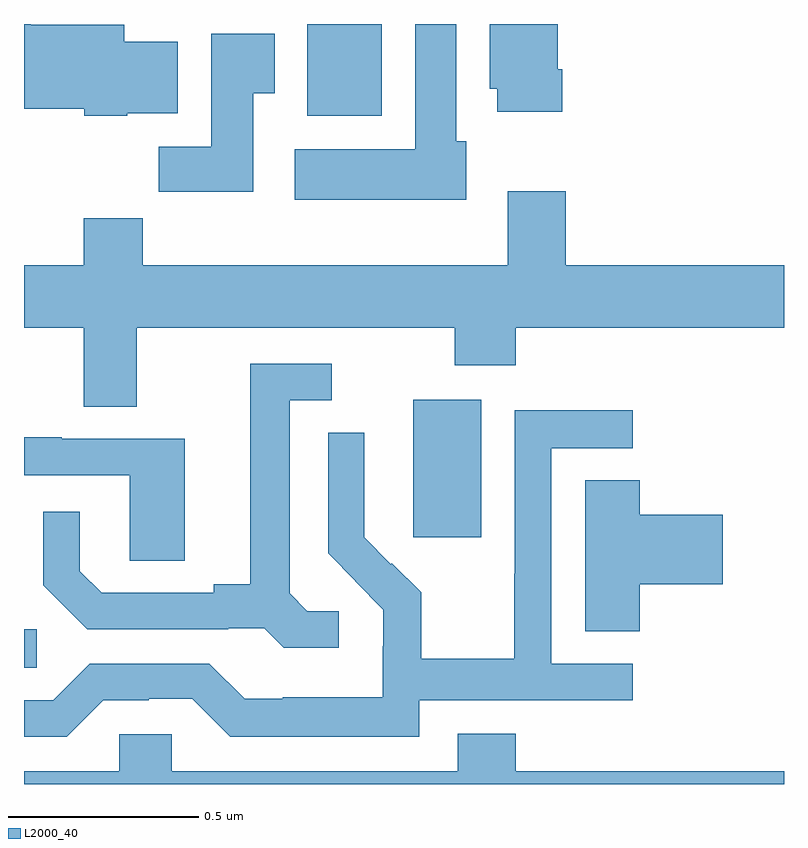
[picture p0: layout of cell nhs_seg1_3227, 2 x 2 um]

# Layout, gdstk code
import gdstk
lib = gdstk.Library(unit=1e-6, precision=1e-09)
def R(c, l, rs):  # rectangles x0, y0, x1, y1
    for r in rs: c.add(gdstk.rectangle(r[:2], r[2:], *l))
def P(c, l, *ps):  # polygons
    for p in ps: c.add(gdstk.Polygon(p, *l))
L2000_40 = (2000, 40)

nhs_seg1_3227 = lib.new_cell('nhs_seg1_3227')
R(nhs_seg1_3227, L2000_40, [(151,549.505,151.033,549.606), (152.024,549.849,152.203,550.21), (151.745,550.958,151.941,551.199)])
P(nhs_seg1_3227, L2000_40, [(151.272,550.964),(151.405,550.964),(151.405,551.152),(151.264,551.152),(151.264,551.197),(151.018,551.197),(151.018,551.199),(151,551.199),(151,550.976),(151.158,550.976),(151.158,550.958),(151.272,550.958)],
  [(152.417,551.08),(152.404,551.08),(152.404,551.199),(152.225,551.199),(152.225,551.028),(152.246,551.028),(152.246,550.968),(152.417,550.968)],
  [(152.164,550.89),(152.137,550.89),(152.137,551.199),(152.03,551.199),(152.03,550.87),(151.713,550.87),(151.713,550.736),(152.164,550.736)],
  [(151.603,551.017),(151.66,551.017),(151.66,551.173),(151.493,551.173),(151.493,550.876),(151.354,550.876),(151.354,550.758),(151.603,550.758)],
  [(151.297,550.4),(152.134,550.4),(152.134,550.301),(152.294,550.301),(152.294,550.4),(153,550.4),(153,550.564),(152.426,550.564),(152.426,550.759),(152.273,550.759),(152.273,550.564),(151.313,550.564),(151.313,550.688),(151.157,550.688),(151.157,550.564),(151,550.564),(151,550.4),(151.157,550.4),(151.157,550.192),(151.297,550.192)],
  [(151.828,549.654),(151.746,549.654),(151.699,549.701),(151.699,550.209),(151.81,550.209),(151.81,550.305),(151.595,550.305),(151.595,549.725),(151.499,549.725),(151.499,549.702),(151.204,549.702),(151.147,549.759),(151.147,549.916),(151.05,549.916),(151.05,549.722),(151.166,549.606),(151.538,549.606),(151.538,549.609),(151.632,549.609),(151.684,549.557),(151.828,549.557)],
  [(152.04,549.42),(152.602,549.42),(152.602,549.516),(152.388,549.516),(152.388,550.083),(152.602,550.083),(152.602,550.182),(152.292,550.182),(152.292,549.752),(152.29,549.752),(152.29,549.529),(152.045,549.529),(152.045,549.703),(151.968,549.78),(151.965,549.777),(151.895,549.848),(151.895,549.97),(151.896,549.97),(151.896,550.124),(151.8,550.124),(151.8,549.806),(151.873,549.733),(151.872,549.732),(151.946,549.658),(151.946,549.561),(151.944,549.561),(151.944,549.427),(151.681,549.427),(151.681,549.423),(151.581,549.423),(151.488,549.516),(151.173,549.516),(151.077,549.42),(151,549.42),(151,549.324),(151.113,549.324),(151.209,549.42),(151.328,549.42),(151.328,549.423),(151.443,549.423),(151.543,549.323),(152.04,549.323)],
  [(151.423,550.107),(151.099,550.107),(151.099,550.111),(151,550.111),(151,550.011),(151.278,550.011),(151.278,549.787),(151.423,549.787)],
  [(152.621,549.725),(152.839,549.725),(152.839,549.908),(152.621,549.908),(152.621,549.998),(152.477,549.998),(152.477,549.601),(152.621,549.601)],
  [(153,549.232),(152.294,549.232),(152.294,549.331),(152.141,549.331),(152.141,549.232),(151.389,549.232),(151.389,549.33),(151.251,549.33),(151.251,549.232),(151,549.232),(151,549.199),(153,549.199)])

lib.write_gds('nhs_seg1_3227.gds')
